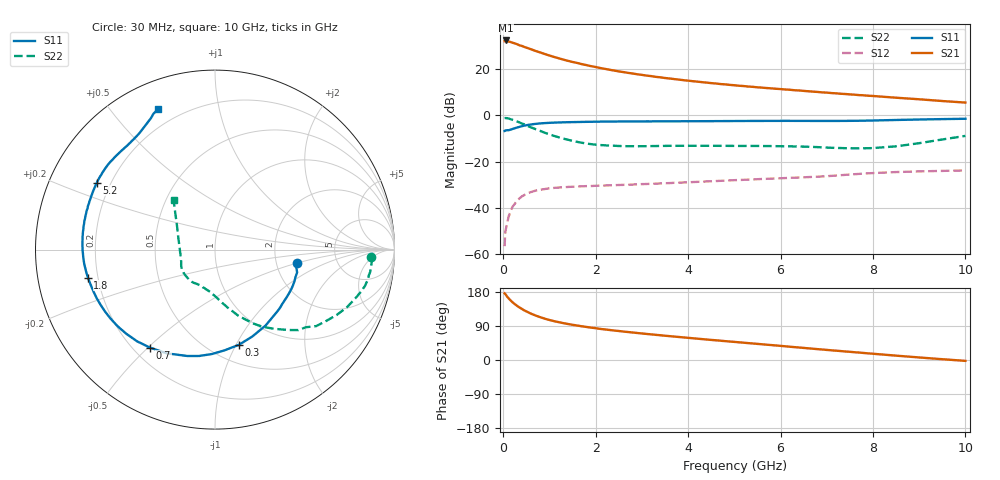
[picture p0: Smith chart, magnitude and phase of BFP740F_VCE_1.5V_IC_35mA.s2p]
! Infineon Technologies  Discrete & RF Semiconductors
! BFP740F
! VCE =  1.5 V,  IC =  35 mA
! Common Emitter S-Parameters:  Oct 2012
# GHz  S  MA  R  50
!  f  S11  S21  S12  S22
! GHz  MAG  ANG  MAG  ANG  MAG  ANG  MAG  ANG
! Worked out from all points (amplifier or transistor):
!   99 points, 30 MHz to 10 GHz, reference 50 ohm
!   highest |S21| = 32.4 dB at 50 MHz (marker M1)
!   |S21| within 3 dB of that: start of sweep to 486.8 MHz
!   unconditionally stable (mu >= 1): start of sweep to 40.63 MHz; 3.742 GHz to end of sweep
!   at 350 MHz: K = 0.29, MSG = 33.1 dB, |S12| = -35.9 dB
!   at 3.5 GHz: K = 0.96, MSG = 22.7 dB, |S12| = -29.3 dB
!   at 10 GHz: K = 1.30, MAG = 11.3 dB, |S12| = -23.8 dB
!   S11 on the Smith chart (normalised r, x): 30 MHz: 2.59, -0.51; 300 MHz: 0.68, -1.03; 700 MHz: 0.27, -0.51; 1.8 GHz: 0.16, -0.11; 5.2 GHz: 0.15, +0.26; 10 GHz: 0.12, +0.67
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0.03  0.4608 -9.6  40.14 176.0  0.0015 72.4  0.8721 -2.7
0.05  0.4748 -15.5  41.45 173.3  0.0033 59.4  0.8753 -5.6
0.09  0.479 -27.7  40.76 166.4  0.0049 73.7  0.8696 -10.9
0.15  0.4888 -44.4  38.59 158.5  0.008 70.3  0.8333 -18.3
0.2  0.5084 -56.3  37.12 152.4  0.0106 67.7  0.8023 -23.6
0.3  0.5471 -76.0  34.43 142.8  0.0144 60.9  0.7361 -32.7
0.35  0.564 -84.7  32.57 138.7  0.0161 57.4  0.7067 -37.1
0.45  0.5992 -98.5  30.2 131.3  0.0189 52.1  0.6455 -44.0
0.6  0.6371 -114.8  26.79 122.4  0.0221 44.5  0.5515 -53.2
0.7  0.655 -123.4  24.57 117.4  0.0237 41.0  0.5047 -58.4
0.9  0.6817 -136.7  21.1 109.0  0.0257 36.0  0.4216 -66.8
1.1  0.6976 -146.7  18.24 102.5  0.0272 32.4  0.36 -73.8
1.4  0.7125 -157.5  15.07 95.0  0.0285 29.5  0.2981 -82.6
1.7  0.722 -165.5  12.77 89.0  0.0294 27.6  0.2564 -90.7
1.8  0.7251 -167.6  12.18 87.2  0.0297 27.4  0.2475 -93.4
2.5  0.7379 -179.8  8.905 76.5  0.0314 27.1  0.2183 -109.1
3.4  0.7435 168.8  6.63 65.3  0.0339 28.7  0.2189 -121.3
5.1  0.7566 151.2  4.362 46.7  0.0402 31.2  0.219 -136.5
5.2  0.7565 150.4  4.302 45.7  0.0406 31.2  0.219 -137.6
6.7  0.7588 135.7  3.254 29.8  0.047 32.4  0.2082 -154.7
8.5  0.7955 118.9  2.406 11.5  0.0597 28.2  0.2147 162.2
10  0.8449 112.0  1.89 -2.3  0.0648 22.1  0.3604 129.9
